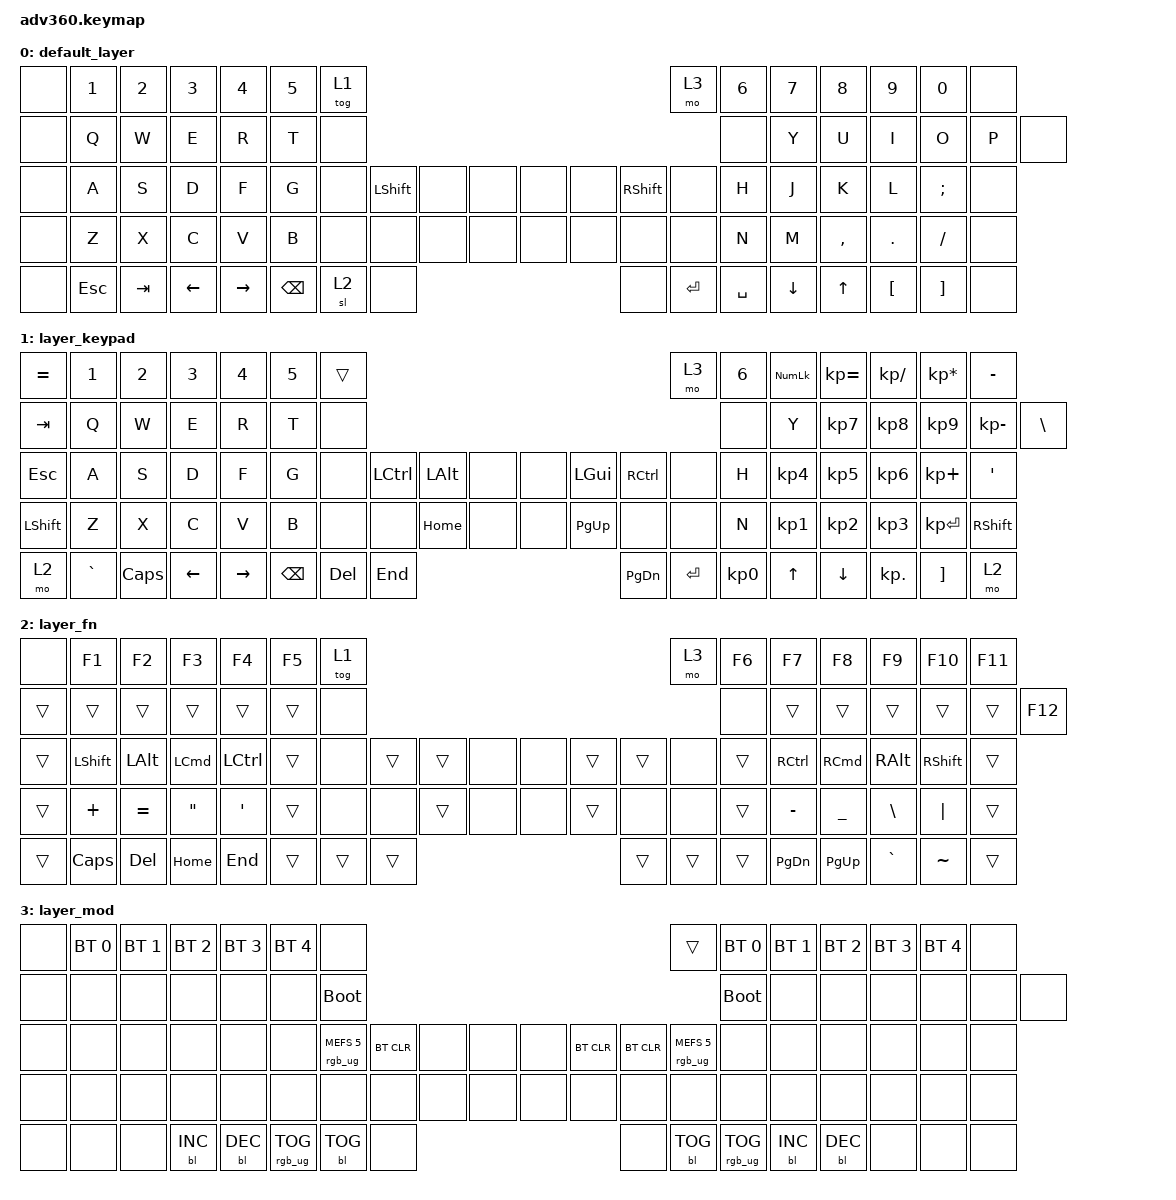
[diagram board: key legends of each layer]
/*
 * Copyright (c) 2020 The ZMK Contributors
 *
 * SPDX-License-Identifier: MIT
 */
/* THIS FILE WAS GENERATED!
 *
 * This file was generated automatically. You may or may not want to
 * edit it directly.
 */

#include <behaviors.dtsi>
#include <dt-bindings/zmk/keys.h>
#include <dt-bindings/zmk/bt.h>
#include <dt-bindings/zmk/rgb.h>
#include <dt-bindings/zmk/backlight.h>

/ {
    behaviors {
        #include "macros.dtsi"

        hm: homerow_mods {
            compatible = "zmk,behavior-hold-tap";
            label = "HOMEROW_MODS";
            #binding-cells = <2>;
            tapping-term-ms = <200>;
            quick_tap_ms = <175>;
            flavor = "tap-preferred";
            bindings =
                <&kp>,
                <&kp>;
        };
    };

    keymap {
        compatible = "zmk,keymap";

        default_layer {
            bindings = <
&none      &kp N1   &kp N2          &kp N3           &kp N4  &kp N5         &tog 1                                                                   &mo 3  &kp N6          &kp N7        &kp N8            &kp N9             &kp N0  &none
&none       &kp Q    &kp W           &kp E            &kp R   &kp T          &none                                                                   &none   &kp Y           &kp U         &kp I             &kp O              &kp P  &none
&none       &kp A    &kp S           &kp D            &kp F   &kp G          &none  &kp LEFT_SHIFT  &none  &none  &none  &none  &kp RIGHT_SHIFT      &none   &kp H           &kp J         &kp K             &kp L      &kp SEMICOLON  &none
&none       &kp Z    &kp X           &kp C            &kp V   &kp B          &none           &none  &none  &none  &none  &none            &none      &none   &kp N           &kp M     &kp COMMA           &kp DOT          &kp SLASH  &none
&none  &kp ESCAPE  &kp TAB  &kp LEFT_ARROW  &kp RIGHT_ARROW          &kp BACKSPACE           &sl 2  &none                &none        &kp ENTER  &kp SPACE          &kp DOWN_ARROW  &kp UP_ARROW  &kp LEFT_BRACKET  &kp RIGHT_BRACKET  &none
            >;
        };

        layer_keypad {
            bindings = <
&kp EQUAL     &kp N1    &kp N2    &kp N3     &kp N4  &kp N5    &trans                                                               &mo 3  &kp N6  &kp KP_NUM  &kp KP_EQUAL  &kp KP_DIVIDE  &kp KP_MULTIPLY  &kp MINUS
  &kp TAB      &kp Q     &kp W     &kp E      &kp R   &kp T     &none                                                               &none   &kp Y   &kp KP_N7     &kp KP_N8      &kp KP_N9     &kp KP_MINUS   &kp BSLH
  &kp ESC      &kp A     &kp S     &kp D      &kp F   &kp G     &none  &kp LCTRL  &kp LALT  &none  &none   &kp LGUI  &kp RCTRL      &none   &kp H   &kp KP_N4     &kp KP_N5      &kp KP_N6      &kp KP_PLUS    &kp SQT
&kp LSHFT      &kp Z     &kp X     &kp C      &kp V   &kp B     &none      &none  &kp HOME  &none  &none  &kp PG_UP      &none      &none   &kp N   &kp KP_N1     &kp KP_N2      &kp KP_N3     &kp KP_ENTER  &kp RSHFT
    &mo 2  &kp GRAVE  &kp CAPS  &kp LEFT  &kp RIGHT          &kp BSPC    &kp DEL   &kp END                &kp PG_DN  &kp ENTER  &kp KP_N0              &kp UP      &kp DOWN     &kp KP_DOT         &kp RBKT      &mo 2
            >;
        };

        layer_fn {
            bindings = <
 &none          &kp F1        &kp F2             &kp F3            &kp F4  &kp F5  &tog 1                                                 &mo 3  &kp F6             &kp F7             &kp F8         &kp F9          &kp F10  &kp F11
&trans          &trans        &trans             &trans            &trans  &trans   &none                                                 &none  &trans             &trans             &trans         &trans           &trans  &kp F12
&trans  &kp LEFT_SHIFT  &kp LEFT_ALT   &kp LEFT_COMMAND  &kp LEFT_CONTROL  &trans   &none  &trans  &trans  &none  &none  &trans  &trans   &none  &trans  &kp RIGHT_CONTROL  &kp RIGHT_COMMAND  &kp RIGHT_ALT  &kp RIGHT_SHIFT   &trans
&trans        &kp PLUS     &kp EQUAL  &kp DOUBLE_QUOTES  &kp SINGLE_QUOTE  &trans   &none   &none  &trans  &none  &none  &trans   &none   &none  &trans          &kp MINUS          &kp UNDER  &kp BACKSLASH         &kp PIPE   &trans
&trans    &kp CAPSLOCK    &kp DELETE           &kp HOME           &kp END          &trans  &trans  &trans                &trans  &trans  &trans              &kp PAGE_DOWN        &kp PAGE_UP      &kp GRAVE        &kp TILDE   &trans
            >;
        };

        layer_mod {
            bindings = <
&none  &bt BT_SEL 0  &bt BT_SEL 1  &bt BT_SEL 2  &bt BT_SEL 3  &bt BT_SEL 4                   &none                                                                           &trans  &bt BT_SEL 0  &bt BT_SEL 1  &bt BT_SEL 2  &bt BT_SEL 3  &bt BT_SEL 4  &none
&none         &none         &none         &none         &none         &none             &bootloader                                                                      &bootloader         &none         &none         &none         &none         &none  &none
&none         &none         &none         &none         &none         &none  &rgb_ug RGB_MEFS_CMD 5  &bt BT_CLR  &none  &none  &none  &bt BT_CLR  &bt BT_CLR  &rgb_ug RGB_MEFS_CMD 5         &none         &none         &none         &none         &none  &none
&none         &none         &none         &none         &none         &none                   &none       &none  &none  &none  &none       &none       &none                   &none         &none         &none         &none         &none         &none  &none
&none         &none         &none    &bl BL_INC    &bl BL_DEC                       &rgb_ug RGB_TOG  &bl BL_TOG  &none                     &none  &bl BL_TOG         &rgb_ug RGB_TOG                  &bl BL_INC    &bl BL_DEC         &none         &none  &none
            >;
        };
    };
};
